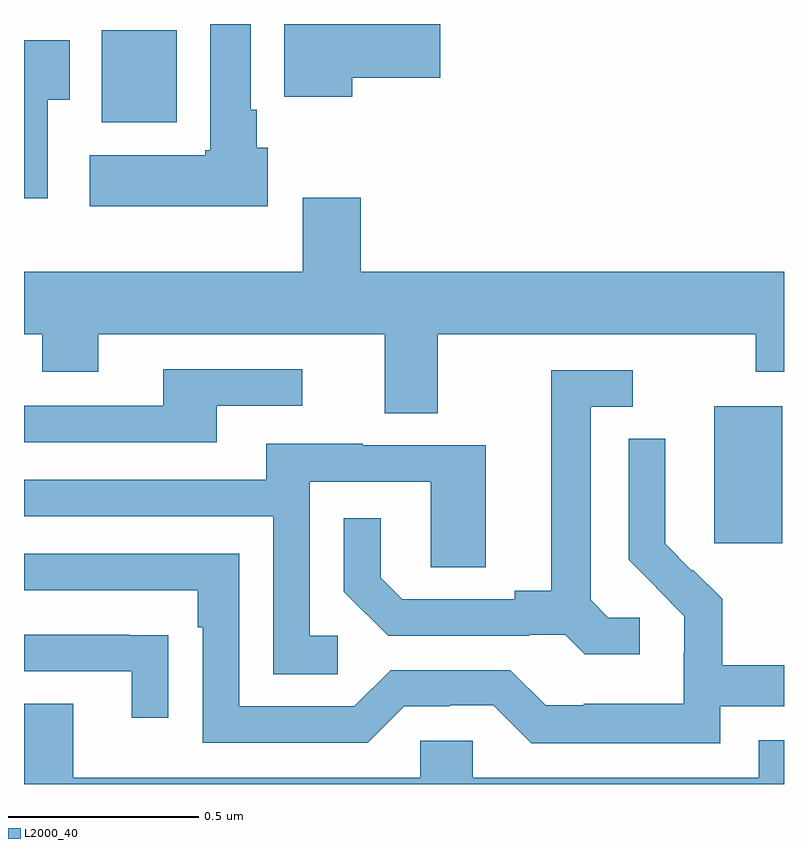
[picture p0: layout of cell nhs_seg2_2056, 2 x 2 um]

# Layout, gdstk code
import gdstk
lib = gdstk.Library(unit=1e-6, precision=1e-09)
def R(c, l, rs):  # rectangles x0, y0, x1, y1
    for r in rs: c.add(gdstk.rectangle(r[:2], r[2:], *l))
def P(c, l, *ps):  # polygons
    for p in ps: c.add(gdstk.Polygon(p, *l))
L2000_40 = (2000, 40)

nhs_seg2_2056 = lib.new_cell('nhs_seg2_2056')
R(nhs_seg2_2056, L2000_40, [(137.816,632.433,137.995,632.794), (136.205,633.542,136.402,633.784)])
P(nhs_seg2_2056, L2000_40, [(136.642,633.474),(136.612,633.474),(136.612,633.574),(136.597,633.574),(136.597,633.8),(136.49,633.8),(136.49,633.468),(136.477,633.468),(136.477,633.454),(136.173,633.454),(136.173,633.32),(136.642,633.32)],
  [(136.864,633.659),(137.095,633.659),(137.095,633.8),(136.685,633.8),(136.685,633.608),(136.864,633.608)],
  [(136.063,633.601),(136.12,633.601),(136.12,633.757),(136,633.757),(136,633.342),(136.063,633.342)],
  [(137.089,632.984),(137.926,632.984),(137.926,632.885),(138,632.885),(138,633.148),(136.886,633.148),(136.886,633.343),(136.733,633.343),(136.733,633.148),(136,633.148),(136,632.984),(136.048,632.984),(136.048,632.885),(136.195,632.885),(136.195,632.984),(136.949,632.984),(136.949,632.776),(137.089,632.776)],
  [(136.507,632.796),(136.732,632.796),(136.732,632.892),(136.367,632.892),(136.367,632.796),(136,632.796),(136,632.7),(136.507,632.7)],
  [(137.62,632.238),(137.538,632.238),(137.491,632.285),(137.491,632.793),(137.602,632.793),(137.602,632.889),(137.387,632.889),(137.387,632.309),(137.291,632.309),(137.291,632.286),(136.996,632.286),(136.939,632.343),(136.939,632.5),(136.842,632.5),(136.842,632.306),(136.958,632.19),(137.33,632.19),(137.33,632.193),(137.424,632.193),(137.476,632.141),(137.62,632.141)],
  [(137.832,632.004),(138,632.004),(138,632.113),(137.837,632.113),(137.837,632.287),(137.76,632.364),(137.757,632.361),(137.687,632.432),(137.687,632.554),(137.688,632.554),(137.688,632.708),(137.592,632.708),(137.592,632.39),(137.665,632.317),(137.664,632.316),(137.738,632.242),(137.738,632.145),(137.736,632.145),(137.736,632.011),(137.473,632.011),(137.473,632.007),(137.373,632.007),(137.28,632.1),(136.965,632.1),(136.869,632.004),(136.566,632.004),(136.566,632.406),(136,632.406),(136,632.31),(136.457,632.31),(136.457,632.213),(136.47,632.213),(136.47,631.908),(136.905,631.908),(137.001,632.004),(137.12,632.004),(137.12,632.007),(137.235,632.007),(137.335,631.907),(137.832,631.907)],
  [(136.825,632.19),(136.752,632.19),(136.752,632.595),(137.07,632.595),(137.07,632.371),(137.215,632.371),(137.215,632.691),(136.891,632.691),(136.891,632.695),(136.637,632.695),(136.637,632.601),(136,632.601),(136,632.505),(136.656,632.505),(136.656,632.089),(136.825,632.089)],
  [(136.379,632.192),(136.277,632.192),(136.277,632.193),(136,632.193),(136,632.097),(136.283,632.097),(136.283,631.974),(136.379,631.974)],
  [(138,631.915),(137.933,631.915),(137.933,631.816),(137.181,631.816),(137.181,631.914),(137.043,631.914),(137.043,631.816),(136.129,631.816),(136.129,632.011),(136,632.011),(136,631.8),(138,631.8)])

lib.write_gds('nhs_seg2_2056.gds')
